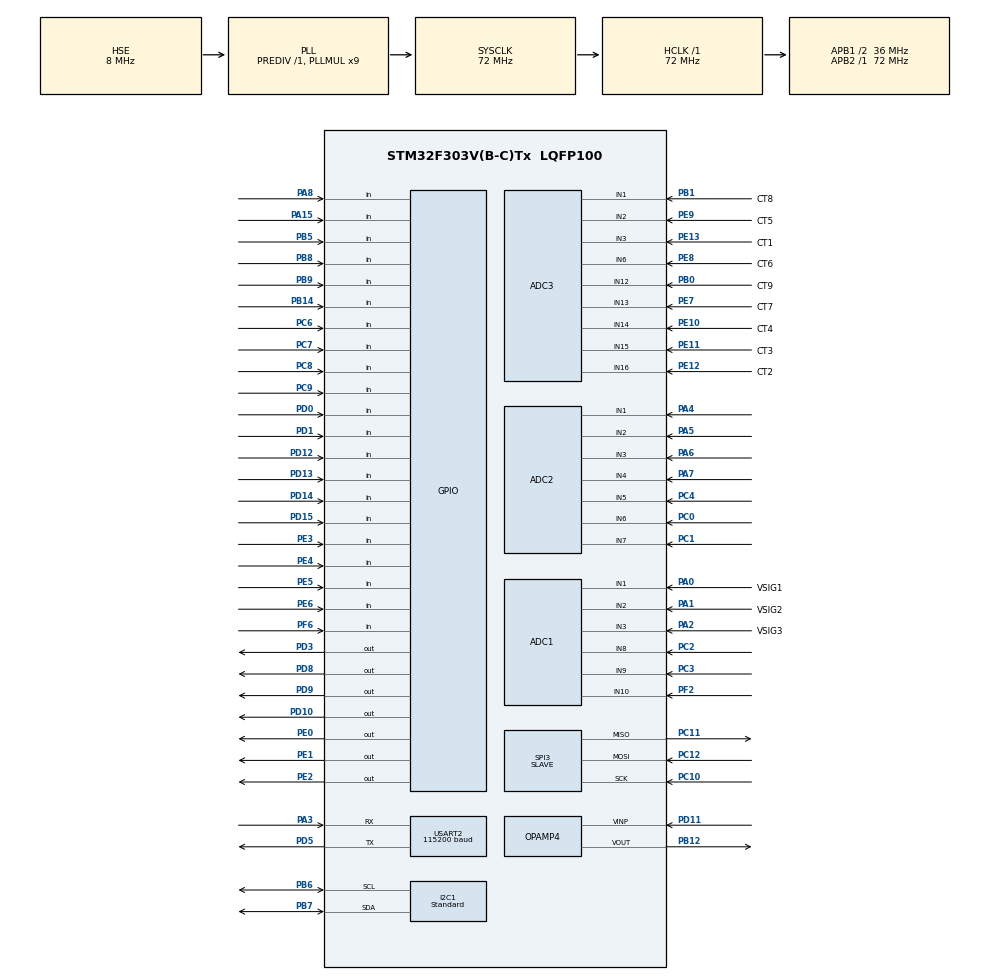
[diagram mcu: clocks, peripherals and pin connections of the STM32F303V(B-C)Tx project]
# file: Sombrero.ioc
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ADC1.Channel-3\#ChannelRegularConversion=ADC_CHANNEL_1
ADC1.ContinuousConvMode=ENABLE
ADC1.DMAContinuousRequests=ENABLE
ADC1.EOCSelection=ADC_EOC_SEQ_CONV
ADC1.InjNumberOfConversion=0
ADC1.NbrOfConversion=1
ADC1.NbrOfConversionFlag=1
ADC1.Offset-3\#ChannelRegularConversion=0
ADC1.OffsetNumber-3\#ChannelRegularConversion=ADC_OFFSET_NONE
ADC1.Rank-3\#ChannelRegularConversion=1
ADC1.SamplingTime-3\#ChannelRegularConversion=ADC_SAMPLETIME_601CYCLES_5
ADC1.master=1
ADC2.ContinuousConvMode=DISABLE
ADC2.DMAContinuousRequests=DISABLE
ADC2.EOCSelection=ADC_EOC_SINGLE_CONV
ADC2.EnableRegularConversion=DISABLE
ADC3.Channel-2\#ChannelRegularConversion=ADC_CHANNEL_3
ADC3.Channel-3\#ChannelRegularConversion=ADC_CHANNEL_16
ADC3.Channel-4\#ChannelRegularConversion=ADC_CHANNEL_15
ADC3.ContinuousConvMode=ENABLE
ADC3.DMAContinuousRequests=ENABLE
ADC3.EOCSelection=ADC_EOC_SEQ_CONV
ADC3.NbrOfConversion=3
ADC3.NbrOfConversionFlag=1
ADC3.Offset-2\#ChannelRegularConversion=0
ADC3.Offset-3\#ChannelRegularConversion=0
ADC3.Offset-4\#ChannelRegularConversion=0
ADC3.OffsetNumber-2\#ChannelRegularConversion=ADC_OFFSET_NONE
ADC3.OffsetNumber-3\#ChannelRegularConversion=ADC_OFFSET_NONE
ADC3.OffsetNumber-4\#ChannelRegularConversion=ADC_OFFSET_NONE
ADC3.Rank-2\#ChannelRegularConversion=1
ADC3.Rank-3\#ChannelRegularConversion=2
ADC3.Rank-4\#ChannelRegularConversion=3
ADC3.SamplingTime-2\#ChannelRegularConversion=ADC_SAMPLETIME_601CYCLES_5
ADC3.SamplingTime-3\#ChannelRegularConversion=ADC_SAMPLETIME_601CYCLES_5
ADC3.SamplingTime-4\#ChannelRegularConversion=ADC_SAMPLETIME_601CYCLES_5
ADC3.master=1
ADC4.Channel-2\#ChannelRegularConversion=ADC_CHANNEL_VOPAMP4
ADC4.NbrOfConversionFlag=1
ADC4.Offset-2\#ChannelRegularConversion=0
ADC4.OffsetNumber-2\#ChannelRegularConversion=ADC_OFFSET_NONE
ADC4.Rank-2\#ChannelRegularConversion=1
ADC4.SamplingTime-2\#ChannelRegularConversion=ADC_SAMPLETIME_1CYCLE_5
Dma.ADC1.0.Direction=DMA_PERIPH_TO_MEMORY
Dma.ADC1.0.Instance=DMA1_Channel1
Dma.ADC1.0.MemDataAlignment=DMA_MDATAALIGN_HALFWORD
Dma.ADC1.0.MemInc=DMA_MINC_ENABLE
Dma.ADC1.0.Mode=DMA_CIRCULAR
Dma.ADC1.0.PeriphDataAlignment=DMA_PDATAALIGN_HALFWORD
Dma.ADC1.0.PeriphInc=DMA_PINC_DISABLE
Dma.ADC1.0.Priority=DMA_PRIORITY_LOW
Dma.ADC3.2.Direction=DMA_PERIPH_TO_MEMORY
Dma.ADC3.2.Instance=DMA2_Channel5
Dma.ADC3.2.MemDataAlignment=DMA_MDATAALIGN_HALFWORD
Dma.ADC3.2.MemInc=DMA_MINC_ENABLE
Dma.ADC3.2.Mode=DMA_CIRCULAR
Dma.ADC3.2.PeriphDataAlignment=DMA_PDATAALIGN_HALFWORD
Dma.ADC3.2.PeriphInc=DMA_PINC_DISABLE
Dma.ADC3.2.Priority=DMA_PRIORITY_LOW
Dma.Request0=ADC1
Dma.Request1=USART2_RX
Dma.Request2=ADC3
Dma.USART2_RX.1.Direction=DMA_PERIPH_TO_MEMORY
Dma.USART2_RX.1.Instance=DMA1_Channel6
Dma.USART2_RX.1.MemDataAlignment=DMA_MDATAALIGN_BYTE
Dma.USART2_RX.1.MemInc=DMA_MINC_ENABLE
Dma.USART2_RX.1.Mode=DMA_NORMAL
Dma.USART2_RX.1.PeriphDataAlignment=DMA_PDATAALIGN_BYTE
Dma.USART2_RX.1.PeriphInc=DMA_PINC_DISABLE
Dma.USART2_RX.1.Priority=DMA_PRIORITY_LOW
I2C1.I2C_Speed_Mode=I2C_Standard
I2C1.Speed=50
I2C1.Timing=0x00101D7C
Mcu.Family=STM32F3
Mcu.Name=STM32F303V(B-C)Tx
Mcu.Package=LQFP100
NVIC.DMA1_Channel1_IRQn=true\:0\:0\:false\:false\:true\:false\:true
NVIC.DMA1_Channel6_IRQn=true\:0\:0\:false\:false\:true\:false\:true
NVIC.DMA2_Channel5_IRQn=true\:0\:0\:false\:false\:true\:false\:true
NVIC.PriorityGroup=NVIC_PRIORITYGROUP_4
NVIC.USART2_IRQn=true\:0\:0\:false\:false\:true\:true\:true
PA0.GPIO_Label=VSIG1
PA0.Mode=IN1-Single-Ended
PA0.Signal=ADC1_IN1
PA1.GPIO_Label=VSIG2
PA1.Mode=IN2-Single-Ended
PA1.Signal=ADC1_IN2
PA13.Mode=Serial_Wire
PA13.Signal=SYS_JTMS-SWDIO
PA14.Mode=Serial_Wire
PA14.Signal=SYS_JTCK-SWCLK
PA15.Signal=GPIO_Input
PA2.GPIO_Label=VSIG3
PA2.Mode=IN3-Single-Ended
PA2.Signal=ADC1_IN3
PA3.Mode=Asynchronous
PA3.Signal=USART2_RX
PA4.Mode=IN1-Single-Ended
PA4.Signal=ADC2_IN1
PA5.Mode=IN2-Single-Ended
PA5.Signal=ADC2_IN2
PA6.Mode=IN3-Single-Ended
PA6.Signal=ADC2_IN3
PA7.Mode=IN4-Single-Ended
PA7.Signal=ADC2_IN4
PA8.GPIO_Mode=GPIO_MODE_INPUT
PA8.GPIO_PuPd=GPIO_NOPULL
PA8.Signal=GPIO_Input
PB0.GPIO_Label=CT9
PB0.Mode=IN12-Single-Ended
PB0.Signal=ADC3_IN12
PB1.GPIO_Label=CT8
PB1.Mode=IN1-Single-Ended
PB1.Signal=ADC3_IN1
PB12.Mode=Follower
PB12.Signal=OPAMP4_VOUT
PB14.GPIO_Mode=GPIO_MODE_INPUT
PB14.GPIO_PuPd=GPIO_NOPULL
PB14.Signal=GPIO_Input
PB5.GPIO_Mode=GPIO_MODE_INPUT
PB5.GPIO_PuPd=GPIO_NOPULL
PB5.Signal=GPIO_Input
PB6.Mode=I2C
PB6.Signal=I2C1_SCL
PB7.Mode=I2C
PB7.Signal=I2C1_SDA
PB8.GPIO_Mode=GPIO_MODE_INPUT
PB8.GPIO_PuPd=GPIO_NOPULL
PB8.Signal=GPIO_Input
PB9.GPIO_Mode=GPIO_MODE_INPUT
PB9.GPIO_PuPd=GPIO_NOPULL
PB9.Signal=GPIO_Input
PC0.Signal=ADCx_IN6
PC1.Signal=ADCx_IN7
PC10.Mode=Full_Duplex_Slave
PC10.Signal=SPI3_SCK
PC11.Mode=Full_Duplex_Slave
PC11.Signal=SPI3_MISO
PC12.Mode=Full_Duplex_Slave
PC12.Signal=SPI3_MOSI
PC14-OSC32_IN.Mode=LSE-External-Oscillator
PC14-OSC32_IN.Signal=RCC_OSC32_IN
PC15-OSC32_OUT.Mode=LSE-External-Oscillator
PC15-OSC32_OUT.Signal=RCC_OSC32_OUT
PC2.Signal=ADCx_IN8
PC3.Signal=ADCx_IN9
PC4.Mode=IN5-Single-Ended
PC4.Signal=ADC2_IN5
PC6.GPIO_Mode=GPIO_MODE_INPUT
PC6.GPIO_PuPd=GPIO_NOPULL
PC6.Signal=GPIO_Input
PC7.GPIO_Mode=GPIO_MODE_INPUT
PC7.GPIO_PuPd=GPIO_NOPULL
PC7.Signal=GPIO_Input
PC8.GPIO_Mode=GPIO_MODE_INPUT
PC8.GPIO_PuPd=GPIO_NOPULL
PC8.Signal=GPIO_Input
PC9.GPIO_Mode=GPIO_MODE_INPUT
PC9.GPIO_PuPd=GPIO_NOPULL
PC9.Signal=GPIO_Input
PD0.Signal=GPIO_Input
PD1.Signal=GPIO_Input
PD10.GPIO_ModeDefaultOutputPP=GPIO_MODE_OUTPUT_PP
PD10.GPIO_PuPd=GPIO_NOPULL
PD10.GPIO_Speed=GPIO_SPEED_FREQ_LOW
PD10.PinState=GPIO_PIN_RESET
PD10.Signal=GPIO_Output
PD11.Mode=Follower
PD11.Signal=OPAMP4_VINP
PD12.GPIO_Mode=GPIO_MODE_INPUT
PD12.GPIO_PuPd=GPIO_NOPULL
PD12.Signal=GPIO_Input
PD13.GPIO_Mode=GPIO_MODE_INPUT
PD13.GPIO_PuPd=GPIO_NOPULL
PD13.Signal=GPIO_Input
PD14.GPIO_Mode=GPIO_MODE_INPUT
PD14.GPIO_PuPd=GPIO_NOPULL
PD14.Signal=GPIO_Input
PD15.GPIO_Mode=GPIO_MODE_INPUT
PD15.GPIO_PuPd=GPIO_NOPULL
PD15.Signal=GPIO_Input
PD3.Signal=GPIO_Output
PD5.Mode=Asynchronous
PD5.Signal=USART2_TX
PD8.GPIO_ModeDefaultOutputPP=GPIO_MODE_OUTPUT_PP
PD8.GPIO_PuPd=GPIO_NOPULL
PD8.GPIO_Speed=GPIO_SPEED_FREQ_LOW
PD8.PinState=GPIO_PIN_RESET
PD8.Signal=GPIO_Output
PD9.GPIO_ModeDefaultOutputPP=GPIO_MODE_OUTPUT_PP
PD9.GPIO_PuPd=GPIO_NOPULL
PD9.GPIO_Speed=GPIO_SPEED_FREQ_LOW
PD9.PinState=GPIO_PIN_RESET
PD9.Signal=GPIO_Output
PE0.GPIO_ModeDefaultOutputPP=GPIO_MODE_OUTPUT_PP
PE0.GPIO_PuPd=GPIO_NOPULL
PE0.GPIO_Speed=GPIO_SPEED_FREQ_LOW
PE0.PinState=GPIO_PIN_RESET
PE0.Signal=GPIO_Output
PE1.GPIO_ModeDefaultOutputPP=GPIO_MODE_OUTPUT_PP
PE1.GPIO_PuPd=GPIO_NOPULL
PE1.GPIO_Speed=GPIO_SPEED_FREQ_LOW
PE1.PinState=GPIO_PIN_RESET
PE1.Signal=GPIO_Output
PE10.GPIO_Label=CT4
PE10.Mode=IN14-Single-Ended
PE10.Signal=ADC3_IN14
PE11.GPIO_Label=CT3
PE11.Mode=IN15-Single-Ended
PE11.Signal=ADC3_IN15
PE12.GPIO_Label=CT2
PE12.Mode=IN16-Single-Ended
PE12.Signal=ADC3_IN16
PE13.GPIO_Label=CT1
PE13.Mode=IN3-Single-Ended
PE13.Signal=ADC3_IN3
PE2.GPIO_ModeDefaultOutputPP=GPIO_MODE_OUTPUT_PP
PE2.GPIO_PuPd=GPIO_NOPULL
PE2.GPIO_Speed=GPIO_SPEED_FREQ_LOW
PE2.PinState=GPIO_PIN_RESET
PE2.Signal=GPIO_Output
PE3.GPIO_Mode=GPIO_MODE_INPUT
PE3.GPIO_PuPd=GPIO_NOPULL
PE3.Signal=GPIO_Input
PE4.GPIO_Mode=GPIO_MODE_INPUT
PE4.GPIO_PuPd=GPIO_NOPULL
PE4.Signal=GPIO_Input
PE5.GPIO_Mode=GPIO_MODE_INPUT
PE5.GPIO_PuPd=GPIO_NOPULL
PE5.Signal=GPIO_Input
PE6.GPIO_Mode=GPIO_MODE_INPUT
PE6.GPIO_PuPd=GPIO_NOPULL
PE6.Signal=GPIO_Input
PE7.GPIO_Label=CT7
PE7.Mode=IN13-Single-Ended
PE7.Signal=ADC3_IN13
PE8.GPIO_Label=CT6
PE8.Signal=ADCx_IN6P
PE9.GPIO_Label=CT5
PE9.Mode=IN2-Single-Ended
PE9.Signal=ADC3_IN2
PF0-OSC_IN.Mode=HSE-External-Oscillator
PF0-OSC_IN.Signal=RCC_OSC_IN
PF1-OSC_OUT.Mode=HSE-External-Oscillator
PF1-OSC_OUT.Signal=RCC_OSC_OUT
PF2.Signal=ADCx_IN10
PF6.Signal=GPIO_Input
ProjectManager.HeapSize=0x200
ProjectManager.StackSize=0x400
ProjectManager.TargetToolchain=Makefile
RCC.ADC12PRES=RCC_ADC12PLLCLK_DIV4
RCC.ADC34PRES=RCC_ADC34PLLCLK_DIV4
RCC.AHBFreq_Value=72000000
RCC.APB1CLKDivider=RCC_HCLK_DIV2
RCC.APB1Freq_Value=36000000
RCC.APB1TimFreq_Value=72000000
RCC.APB2Freq_Value=72000000
RCC.APB2TimFreq_Value=72000000
RCC.CortexFreq_Value=72000000
RCC.HCLKFreq_Value=72000000
RCC.HSE_VALUE=8000000
RCC.HSI_VALUE=8000000
RCC.PLLMUL=RCC_PLL_MUL9
RCC.PLLSourceVirtual=RCC_PLLSOURCE_HSE
RCC.PREFETCH_ENABLE=1
RCC.SYSCLKFreq_VALUE=72000000
RCC.SYSCLKSourceVirtual=RCC_SYSCLKSOURCE_PLLCLK
RCC.USBFreq_Value=72000000
RCC.Usart1ClockSelection=RCC_USART1CLKSOURCE_SYSCLK
RCC.Usart2ClockSelection=RCC_USART2CLKSOURCE_SYSCLK
RCC.Usart3ClockSelection=RCC_USART3CLKSOURCE_SYSCLK
SH.ADCx_IN10.0=ADC1_IN10,IN10-Single-Ended
SH.ADCx_IN6.0=ADC2_IN6,IN6-Single-Ended
SH.ADCx_IN6P.0=ADC3_IN6,IN6-Single-Ended
SH.ADCx_IN7.0=ADC2_IN7,IN7-Single-Ended
SH.ADCx_IN8.0=ADC1_IN8,IN8-Single-Ended
SH.ADCx_IN9.0=ADC1_IN9,IN9-Single-Ended
SPI3.DataSize=SPI_DATASIZE_8BIT
SPI3.Direction=SPI_DIRECTION_2LINES
SPI3.Mode=SPI_MODE_SLAVE
SPI3.VirtualType=VM_SLAVE
USART2.BaudRate=115200
USART2.VirtualMode-Asynchronous=VM_ASYNC
VP_ADC4_OPAMP_INTERNAL4.Mode=IN-OPAMP4
board=custom

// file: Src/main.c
/* USER CODE BEGIN Header */
/**
  ******************************************************************************
  * @file           : main.c
  * @brief          : Main program body
  ******************************************************************************
  * @attention
  *
  * <h2><center>&copy; Copyright (c) 2019 STMicroelectronics.
  * All rights reserved.</center></h2>
  *
  * This software component is licensed by ST under BSD 3-Clause license,
  * the "License"; You may not use this file except in compliance with the
  * License. You may obtain a copy of the License at:
  *                        opensource.org/licenses/BSD-3-Clause
  *
  ******************************************************************************
  */
/* USER CODE END Header */

#include "main.h"
#include "adc.h"
#include "dma.h"
#include "i2c.h"
#include "opamp.h"
#include "spi.h"
#include "usart.h"
#include "gpio.h"

/* USER CODE BEGIN Includes */
#include <string.h>
#include <math.h>
/* USER CODE END Includes */

/* USER CODE BEGIN PV */

#define true 1
#define false 0
#define MID_ADC_READING 2048

char log_buffer[100];

// Flag
int8_t readings_ready = false;

// Calibration
double VCAL = 268.97;
double ICAL = 90.9;

// ISR accumulators
typedef struct channel_ {
  int64_t sum_P;
  uint64_t sum_V_sq;
  uint64_t sum_I_sq;
  int64_t sum_V;
  int64_t sum_I;
  uint64_t count;

  uint8_t positive_V;
  uint8_t last_positive_V;
  uint8_t cycles;
} channel_t;

uint64_t pulseCount = 0;

static channel_t channels[3];
static channel_t channels_copy[3];

/* USER CODE END PV */

void SystemClock_Config(void);

/* USER CODE BEGIN 0 */
void process_frame(uint16_t offset)
{
  int32_t sample_V, sample_I, signed_V, signed_I;

  HAL_GPIO_WritePin(GPIOD, GPIO_PIN_8, GPIO_PIN_SET);

  for (int i=0; i<3000; i+=3) {
    // Cycle through channels
    for (int n=0; n<3; n++) {
      channel_t* channel = &channels[n];

      // ----------------------------------------
      // Voltage
      sample_V = adc1_dma_buff[offset+i+n];
      signed_V = sample_V - MID_ADC_READING;
      channel->sum_V += signed_V;
      channel->sum_V_sq += signed_V * signed_V;
      // ----------------------------------------
      // Current
      sample_I = adc3_dma_buff[offset+i+n];
      signed_I = sample_I - MID_ADC_READING;
      channel->sum_I += signed_I;
      channel->sum_I_sq += signed_I * signed_I;
      // ----------------------------------------
      // Power
      channel->sum_P += signed_V * signed_I;

      channel->count ++;

      // Zero crossing detection
      channel->last_positive_V = channel->positive_V;
      if (signed_V > 0) channel->positive_V = true; else channel->positive_V = false;
      if (!channel->last_positive_V && channel->positive_V) channel->cycles++;

      // 125 cycles or 2.5 seconds
      if (channel->cycles>=125) {
        channel->cycles = 0;

        channel_t* channel_copy = &channels_copy[n];
        // Copy accumulators for use in main loop
        memcpy ((void*)channel_copy, (void*)channel, sizeof(channel_t));
        // Reset accumulators to zero ready for next set of measurements
        memset((void*)channel, 0, sizeof(channel_t));

        if (n==2) {
          readings_ready = true;
        }
      }
    }
  }
  HAL_GPIO_WritePin(GPIOD, GPIO_PIN_8, GPIO_PIN_RESET);
}
/* USER CODE END 0 */

int main(void)
{
  /* USER CODE BEGIN 1 */

  float V_RATIO = VCAL * (3.3 / 4096.0);
  float I_RATIO = ICAL * (3.3 / 4096.0);
  /* USER CODE END 1 */

  /* MCU Configuration--------------------------------------------------------*/

  /* Reset of all peripherals, Initializes the Flash interface and the Systick. */
  HAL_Init();

  /* Configure the system clock */
  SystemClock_Config();

  /* Initialize all configured peripherals */
  MX_GPIO_Init();
  MX_DMA_Init();
  MX_ADC1_Init();
  MX_ADC2_Init();
  MX_ADC3_Init();
  MX_ADC4_Init();
  MX_I2C1_Init();
  MX_OPAMP4_Init();
  MX_USART2_UART_Init();
  MX_SPI3_Init();
  /* USER CODE BEGIN 2 */

  debug_printf("start\n");
  HAL_Delay(10);
  HAL_OPAMP_Start(&hopamp4);
  start_ADCs();
  /* USER CODE END 2 */

  /* Infinite loop */
  /* USER CODE BEGIN WHILE */
  while (1)
  {
    if (readings_ready) {
       readings_ready = false;
       //process_ds18b20s();

       for (int n=0; n<3; n++) {
         channel_t* chn = &channels_copy[n];

         double Vmean = chn->sum_V * (1.0 / chn->count);
         double Imean = chn->sum_I * (1.0 / chn->count);

         chn->sum_V_sq *= (1.0 / chn->count);
         chn->sum_V_sq -= (Vmean*Vmean);
         double Vrms = V_RATIO * sqrt((double)chn->sum_V_sq);

         chn->sum_I_sq *= (1.0 / chn->count);
         chn->sum_I_sq -= (Imean*Imean);
         double Irms = I_RATIO * sqrt((double)chn->sum_I_sq);

         double mean_P = (chn->sum_P * (1.0 / chn->count)) - (Vmean*Imean);
         double realPower = V_RATIO * I_RATIO * mean_P;

         double apparentPower = Vrms * Irms;
         double powerFactor = realPower / apparentPower;

         sprintf(log_buffer,"V%d:%.2f,I%d:%.3f,RP%d:%.1f,AP%d:%.1f,PF%d:%.3f,C%d:%d,", n,Vrms,n,Irms,n,realPower,n,apparentPower,n,powerFactor,n,chn->count);
         debug_printf(log_buffer);

       }

       //sprintf(log_buffer,"\r\n");
       //debug_printf(log_buffer);

       sprintf(log_buffer,"PC:%d\r\n",pulseCount);
       debug_printf(log_buffer);

     }

    /* USER CODE END WHILE */

  }
}

void SystemClock_Config(void)
{
  RCC_OscInitTypeDef RCC_OscInitStruct = {0};
  RCC_ClkInitTypeDef RCC_ClkInitStruct = {0};
  RCC_PeriphCLKInitTypeDef PeriphClkInit = {0};

  /** Initializes the CPU, AHB and APB busses clocks
  */
  RCC_OscInitStruct.OscillatorType = RCC_OSCILLATORTYPE_HSI|RCC_OSCILLATORTYPE_HSE;
  RCC_OscInitStruct.HSEState = RCC_HSE_ON;
  RCC_OscInitStruct.HSEPredivValue = RCC_HSE_PREDIV_DIV1;
  RCC_OscInitStruct.HSIState = RCC_HSI_ON;
  RCC_OscInitStruct.HSICalibrationValue = RCC_HSICALIBRATION_DEFAULT;
  RCC_OscInitStruct.PLL.PLLState = RCC_PLL_ON;
  RCC_OscInitStruct.PLL.PLLSource = RCC_PLLSOURCE_HSE;
  RCC_OscInitStruct.PLL.PLLMUL = RCC_PLL_MUL9;
  if (HAL_RCC_OscConfig(&RCC_OscInitStruct) != HAL_OK)
  {
    Error_Handler();
  }
  /** Initializes the CPU, AHB and APB busses clocks
  */
  RCC_ClkInitStruct.ClockType = RCC_CLOCKTYPE_HCLK|RCC_CLOCKTYPE_SYSCLK
                              |RCC_CLOCKTYPE_PCLK1|RCC_CLOCKTYPE_PCLK2;
  RCC_ClkInitStruct.SYSCLKSource = RCC_SYSCLKSOURCE_PLLCLK;
  RCC_ClkInitStruct.AHBCLKDivider = RCC_SYSCLK_DIV1;
  RCC_ClkInitStruct.APB1CLKDivider = RCC_HCLK_DIV2;
  RCC_ClkInitStruct.APB2CLKDivider = RCC_HCLK_DIV1;

  if (HAL_RCC_ClockConfig(&RCC_ClkInitStruct, FLASH_LATENCY_2) != HAL_OK)
  {
    Error_Handler();
  }
  PeriphClkInit.PeriphClockSelection = RCC_PERIPHCLK_USART2|RCC_PERIPHCLK_I2C1
                              |RCC_PERIPHCLK_ADC12|RCC_PERIPHCLK_ADC34;
  PeriphClkInit.Usart2ClockSelection = RCC_USART2CLKSOURCE_SYSCLK;
  PeriphClkInit.Adc12ClockSelection = RCC_ADC12PLLCLK_DIV4;
  PeriphClkInit.Adc34ClockSelection = RCC_ADC34PLLCLK_DIV4;
  PeriphClkInit.I2c1ClockSelection = RCC_I2C1CLKSOURCE_HSI;
  if (HAL_RCCEx_PeriphCLKConfig(&PeriphClkInit) != HAL_OK)
  {
    Error_Handler();
  }
}

void Error_Handler(void)
{
}

/************************ (C) COPYRIGHT STMicroelectronics *****END OF FILE****/
